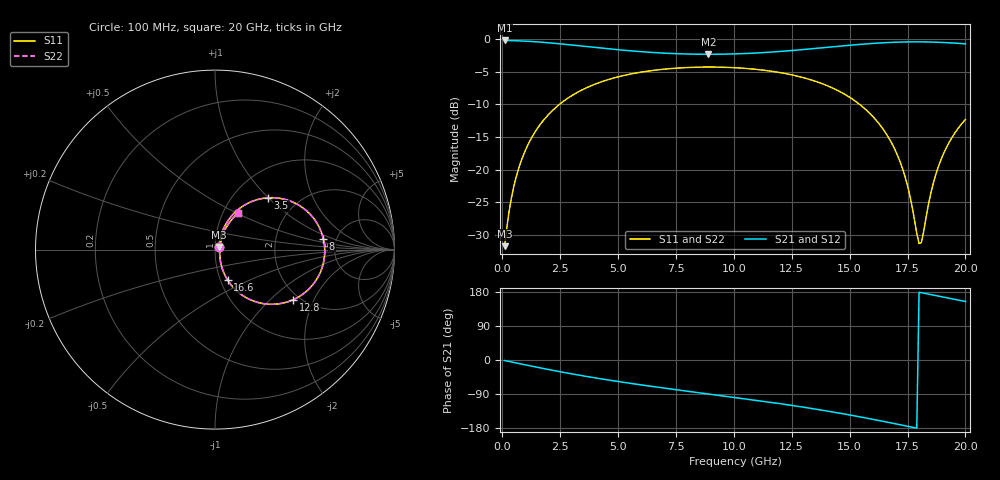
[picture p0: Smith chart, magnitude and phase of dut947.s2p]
! Touchstone file exported from HFSS 2026.1.0
!  File:  C:/ffzhzh/LocalFiles/Ansys_Project_Files/temp_train_TSV_RDL_947_1783282669_38704.aedt
!  Generated:  04:30:34 AM Jul  6, 2026
!  Design:  TSV_RDL
!  Project:  temp_train_TSV_RDL_947_1783282669_38704
! Variables:
!  h_bsmrdl = 2.73um
!  h_ox = 20um
!  h_rdl = 5um
!  h_sub = 69.61um
!  h_tmrdl = 5.89um
!  h_tsv = 69.61um
!  h_via = 3um
!  l_bsmrdl = 142.93um
!  l_sub = 3488.19um
!  l_tmrdl = 636.47um
!  m_sub = 200um
!  pitch = 52.83um
!  r_tsv = 2.26um
!  s_tmrdl = 10um
!  w_bsmrdl = 16.83um
!  w_sub = 500um
!  w_tmrdl = 21.01um
!  x_tsv_center1 = 646.975um
!  x_tsv_center2 = 806.735um
!  x_tsv_center3 = 1464.215um
!  x_tsv_center4 = 1623.975um
!  x_tsv_center5 = 2281.455um
!  x_tsv_center6 = 2441.215um
# GHz S MA R 50.000000
! Terminal data exported
! Port[1] = TM_RDL1_1_T1
! Port[2] = TM_RDL5_1_T1
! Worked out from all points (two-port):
!   200 points, 100 MHz to 20 GHz, reference 50 ohm
!   highest |S21| = -0.19 dB at 100 MHz (marker M1); lowest = -2.3 dB at 8.9 GHz (marker M2)
!   |S21| within 3 dB of the highest: start of sweep to end of sweep
!   lowest |S11| = -31.8 dB at 100 MHz (marker M3), VSWR 1.05, Z = 52.2 + j1.49 ohm
!   |S11| at or under -10 dB: start of sweep to 2.468 GHz; 15.43 GHz to end of sweep
!   |S22| runs from -31.8 to -4.3 dB; largest |S21 - S12| = 1.7e-14
!   S11 on the Smith chart (normalised r, x): 100 MHz: 1.04, +0.03; 3.5 GHz: 1.43, +1.00; 8 GHz: 3.92, +0.76; 12.8 GHz: 1.85, -1.41; 16.6 GHz: 1.08, -0.38; 20 GHz: 1.18, +0.51
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0.1  0.02581 33.5  0.9787 -1.3  0.9787 -1.3  0.02581 33.5
! Gamma 0 0 0 0
! Port Impedance 50 0 50 0
0.3  0.04849 59.0  0.977 -4.0  0.977 -4.0  0.04849 59.0
0.5  0.07442 65.8  0.9747 -6.5  0.9747 -6.5  0.07442 65.8
1.1  0.1538 67.0  0.9646 -14.2  0.9646 -14.2  0.1538 67.0
2.1  0.2762 58.4  0.936 -26.4  0.936 -26.4  0.2762 58.4
3.5  0.4131 44.4  0.884 -42.0  0.884 -42.0  0.4131 44.4
6.8  0.5846 15.3  0.7856 -72.5  0.7856 -72.5  0.5846 15.3
8  0.6065 5.8  0.7701 -82.3  0.7701 -82.3  0.6065 5.8
8.9  0.6116 -1.1  0.7665 -89.6  0.7665 -89.6  0.6116 -1.1
10.1  0.6038 -10.4  0.7724 -99.2  0.7724 -99.2  0.6038 -10.4
12.8  0.518 -32.6  0.8275 -122.6  0.8275 -122.6  0.518 -32.6
13.4  0.4835 -37.9  0.846 -128.3  0.846 -128.3  0.4835 -38.0
15.3  0.3295 -56.0  0.9088 -148.4  0.9088 -148.4  0.3296 -56.0
16.6  0.1857 -67.4  0.9425 -163.7  0.9425 -163.7  0.1857 -67.4
16.7  0.1737 -68.0  0.9444 -164.9  0.9444 -164.9  0.1737 -68.0
17.4  0.0875 -67.6  0.9533 -173.6  0.9533 -173.6  0.08748 -67.6
18  0.02705 -14.3  0.955 178.9  0.955 178.9  0.02694 -14.3
18.1  0.02753 12.1  0.9547 177.7  0.9547 177.7  0.02742 12.1
18.5  0.06497 57.3  0.9519 172.7  0.9519 172.7  0.06491 57.4
18.9  0.1133 63.0  0.9467 167.7  0.9467 167.7  0.1133 63.1
19.4  0.1736 61.8  0.9371 161.6  0.9371 161.6  0.1736 61.9
20  0.2422 57.4  0.9218 154.5  0.9218 154.5  0.2422 57.4
